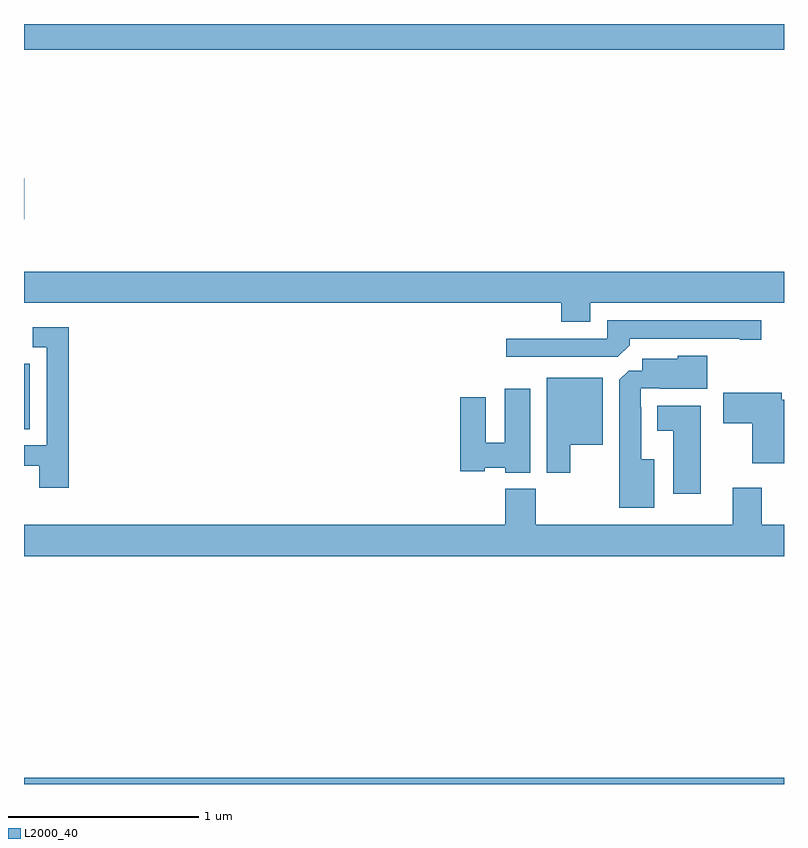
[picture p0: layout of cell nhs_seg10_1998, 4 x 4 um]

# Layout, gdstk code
import gdstk
lib = gdstk.Library(unit=1e-6, precision=1e-09)
def R(c, l, rs):  # rectangles x0, y0, x1, y1
    for r in rs: c.add(gdstk.rectangle(r[:2], r[2:], *l))
def P(c, l, *ps):  # polygons
    for p in ps: c.add(gdstk.Polygon(p, *l))
L2000_40 = (2000, 40)

nhs_seg10_1998 = lib.new_cell('nhs_seg10_1998')
R(nhs_seg10_1998, L2000_40, [(217,1248.5,221,1248.532), (217,1250.368,217.03,1250.712), (217,1251.473,217.001,1251.687), (217,1252.364,221,1252.5)])
P(nhs_seg10_1998, L2000_40, [(219.979,1251.032),(221,1251.032),(221,1251.196),(217,1251.196),(217,1251.032),(219.827,1251.032),(219.827,1250.933),(219.979,1250.933)],
  [(220.187,1250.81),(220.187,1250.844),(220.766,1250.844),(220.766,1250.839),(220.879,1250.839),(220.879,1250.94),(220.071,1250.94),(220.071,1250.844),(219.537,1250.844),(219.537,1250.748),(220.125,1250.748)],
  [(217.235,1250.905),(217.047,1250.905),(217.047,1250.799),(217.119,1250.799),(217.119,1250.283),(217,1250.283),(217,1250.175),(217.079,1250.175),(217.079,1250.058),(217.235,1250.058)],
  [(220.318,1250.209),(220.249,1250.209),(220.249,1250.483),(220.245,1250.483),(220.245,1250.583),(220.345,1250.583),(220.345,1250.579),(220.597,1250.579),(220.597,1250.755),(220.44,1250.755),(220.44,1250.737),(220.253,1250.737),(220.253,1250.676),(220.182,1250.676),(220.133,1250.627),(220.133,1249.955),(220.318,1249.955)],
  [(219.874,1250.285),(220.045,1250.285),(220.045,1250.638),(219.752,1250.638),(219.752,1250.139),(219.874,1250.139)],
  [(219.664,1250.581),(219.53,1250.581),(219.53,1250.295),(219.43,1250.295),(219.43,1250.536),(219.296,1250.536),(219.296,1250.147),(219.426,1250.147),(219.426,1250.165),(219.534,1250.165),(219.534,1250.138),(219.664,1250.138)],
  [(221,1250.522),(220.987,1250.522),(220.987,1250.56),(220.68,1250.56),(220.68,1250.398),(220.832,1250.398),(220.832,1250.187),(221,1250.187)],
  [(220.561,1250.491),(220.334,1250.491),(220.334,1250.36),(220.418,1250.36),(220.418,1250.028),(220.561,1250.028)],
  [(221,1249.864),(220.883,1249.864),(220.883,1250.059),(220.73,1250.059),(220.73,1249.864),(219.693,1249.864),(219.693,1250.053),(219.533,1250.053),(219.533,1249.864),(217,1249.864),(217,1249.7),(221,1249.7)])

lib.write_gds('nhs_seg10_1998.gds')
